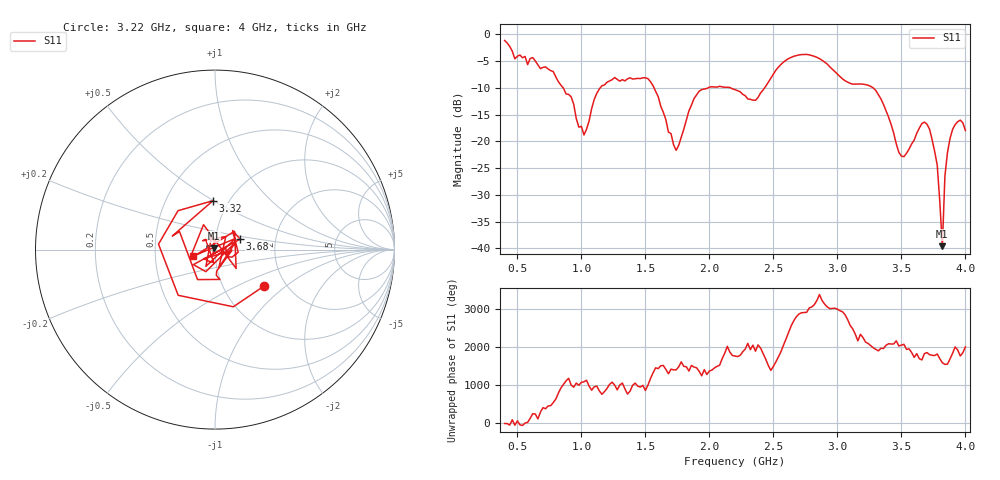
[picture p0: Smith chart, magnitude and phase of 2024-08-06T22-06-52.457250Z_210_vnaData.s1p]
!Created with skrf (http://scikit-rf.org).
# Hz S RI R 50.0
!freq ReS11 ImS11
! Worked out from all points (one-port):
!   181 points, 400 MHz to 4 GHz, reference 50 ohm
!   lowest |S11| = -39.6 dB at 3.82 GHz (marker M1), VSWR 1.02, Z = 49.2 + j0.653 ohm
!   |S11| at or under -10 dB: 858.2 MHz to 1.147 GHz (288.7 MHz wide, 28.8 % of centre); 1.567 GHz to 1.989 GHz (421.5 MHz wide, 23.7 % of centre); 3.28 GHz to end of sweep (the widest 3 of 4)
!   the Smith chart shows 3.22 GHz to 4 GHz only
!   S11 on the Smith chart (normalised r, x): 3.22 GHz: 1.54, -0.71; 3.32 GHz: 0.84, +0.50; 3.68 GHz: 1.31, +0.16; 4 GHz: 0.78, -0.06
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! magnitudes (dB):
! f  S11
! 400 MHz  -1.1
! 480 MHz  -4.6
! 620 MHz  -4.4
! 860 MHz  -10.1
! 1.02 GHz  -18.8
! 1.14 GHz  -10.2
! 1.3 GHz  -8.7
! 1.52 GHz  -8.3
! 1.74 GHz  -21.7
! 1.76 GHz  -20.7
! 1.92 GHz  -10.6
! 2.2 GHz  -10.3
! 2.36 GHz  -12.3
! 2.66 GHz  -4.1
! 2.84 GHz  -4.3
! 3.1 GHz  -9.2
! 3.22 GHz  -9.4
! 3.32 GHz  -11.3
! 3.48 GHz  -22.0
! 3.56 GHz  -21.4
! 3.68 GHz  -16.4
! 3.72 GHz  -17.7
! 3.78 GHz  -24.5
! 3.82 GHz  -39.6
! 3.84 GHz  -26.5
! 3.88 GHz  -19.5
! 3.96 GHz  -16.0
! 4 GHz  -18.0
